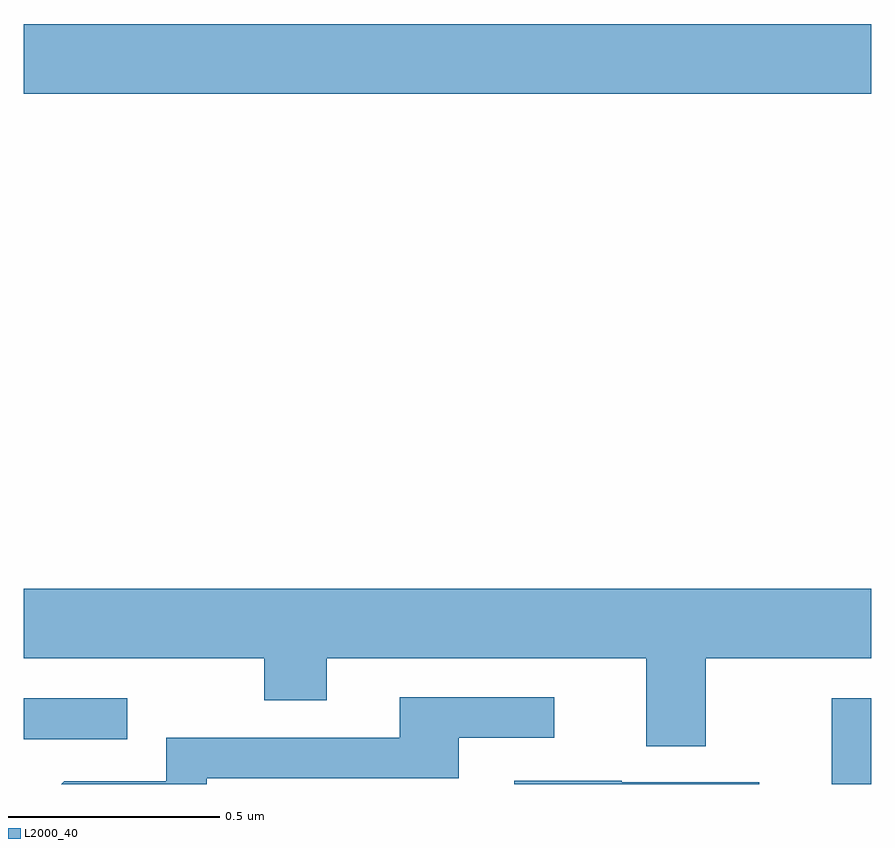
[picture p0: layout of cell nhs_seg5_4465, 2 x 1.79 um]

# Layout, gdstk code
import gdstk
lib = gdstk.Library(unit=1e-6, precision=1e-09)
def R(c, l, rs):  # rectangles x0, y0, x1, y1
    for r in rs: c.add(gdstk.rectangle(r[:2], r[2:], *l))
def P(c, l, *ps):  # polygons
    for p in ps: c.add(gdstk.Polygon(p, *l))
L2000_40 = (2000, 40)

nhs_seg5_4465 = lib.new_cell('nhs_seg5_4465')
R(nhs_seg5_4465, L2000_40, [(172.907,853.799,173,854.001), (171,853.905,171.244,854.001), (171,855.428,173,855.592)])
P(nhs_seg5_4465, L2000_40, [(172.609,854.096),(173,854.096),(173,854.26),(171,854.26),(171,854.096),(171.568,854.096),(171.568,853.997),(171.715,853.997),(171.715,854.096),(172.469,854.096),(172.469,853.888),(172.609,853.888)],
  [(171.432,853.812),(172.027,853.812),(172.027,853.908),(172.252,853.908),(172.252,854.004),(171.887,854.004),(171.887,853.908),(171.336,853.908),(171.336,853.806),(171.096,853.806),(171.089,853.799),(171.432,853.799)],
  [(172.735,853.803),(172.411,853.803),(172.411,853.807),(172.157,853.807),(172.157,853.799),(172.735,853.799)])

lib.write_gds('nhs_seg5_4465.gds')
